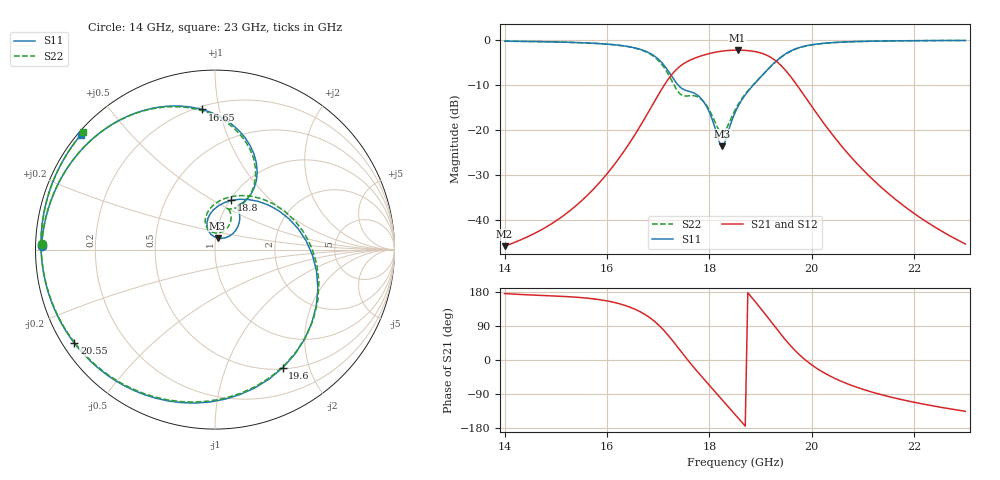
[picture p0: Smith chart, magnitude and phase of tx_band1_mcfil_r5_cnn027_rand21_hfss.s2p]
! Touchstone file exported from HFSS 3D Layout Design 2026.1.0
!  File:  D:/Work/SIM/ADS_AUTO_SIM/projects/RFSOC_RF/TX_Fillter.aedt
!  Generated:  11:01:02 PM Aug 30, 2026
!  Design:  TX_BAND1_MCFIL_R5_CNN027
!  Project:  TX_Fillter
# GHz S MA R 50.000000
! Terminal data exported
! Port[1] = Port1
! Port[2] = Port2
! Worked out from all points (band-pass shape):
!   181 points, 14 GHz to 23 GHz, reference 50 ohm
!   highest |S21| = -2.28 dB at 18.55 GHz (marker M1); lowest = -45.7 dB at 14 GHz (marker M2)
!   |S21| within 3 dB of the highest: 17.5 GHz to 19.36 GHz (1.864 GHz wide, 10.1 % of centre)
!   lowest |S11| = -23.6 dB at 18.25 GHz (marker M3), VSWR 1.14, Z = 51 + j6.63 ohm
!   |S11| at or under -10 dB: 17.39 GHz to 18.86 GHz (1.472 GHz wide, 8.12 % of centre)
!   |S22| runs from -20.7 to -0.1 dB; largest |S21 - S12| = 1.3e-14
!   S11 on the Smith chart (normalised r, x): 14 GHz: 0.02, +0.01; 16.65 GHz: 0.22, +0.89; 18.8 GHz: 1.02, +0.61; 19.6 GHz: 0.51, -1.60; 20.55 GHz: 0.03, -0.30; 23 GHz: 0.01, +0.37
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14  0.9659 178.7  0.005192 175.3  0.005192 175.3  0.9664 178.2
15.5  0.9283 142.9  0.01645 164.6  0.01645 164.6  0.9286 143.0
16.1  0.886 122.4  0.03865 153.1  0.03865 153.1  0.8852 122.6
16.65  0.7844 95.4  0.1113 127.1  0.1113 127.1  0.778 95.4
17  0.6121 71.3  0.2446 93.4  0.2446 93.4  0.592 70.7
17.35  0.3355 57.6  0.466 39.0  0.466 39.0  0.2873 59.6
17.65  0.264 61.7  0.6053 -12.1  0.6053 -12.1  0.2414 74.6
17.8  0.2354 54.3  0.6524 -36.0  0.6524 -36.0  0.2285 68.8
18  0.1579 42.9  0.7044 -66.9  0.7044 -66.9  0.1663 60.1
18.25  0.06625 77.8  0.75 -105.1  0.75 -105.1  0.09247 86.5
18.5  0.156 106.6  0.7683 -143.5  0.7683 -143.5  0.1665 109.2
18.55  0.1789 102.6  0.7688 -151.2  0.7688 -151.2  0.1877 106.2
18.8  0.2892 71.5  0.7544 169.5  0.7544 169.5  0.2931 78.2
19  0.3873 39.9  0.7158 136.4  0.7158 136.4  0.387 46.6
19.15  0.4774 14.2  0.662 110.6  0.662 110.6  0.4735 19.8
19.4  0.6457 -29.1  0.5185 67.2  0.5185 67.2  0.638 -26.0
19.6  0.7592 -60.3  0.383 35.5  0.383 35.5  0.7518 -59.0
19.8  0.8356 -86.3  0.2669 8.7  0.2669 8.7  0.8299 -86.2
20  0.8825 -107.1  0.183 -13.1  0.183 -13.1  0.8786 -107.8
20.55  0.9411 -146.3  0.07 -54.7  0.07 -54.7  0.94 -147.8
21.5  0.9717 175.2  0.01978 -96.4  0.01978 -96.4  0.9717 173.7
23  0.9834 139.5  0.005488 -135.4  0.005488 -135.4  0.9836 138.2
